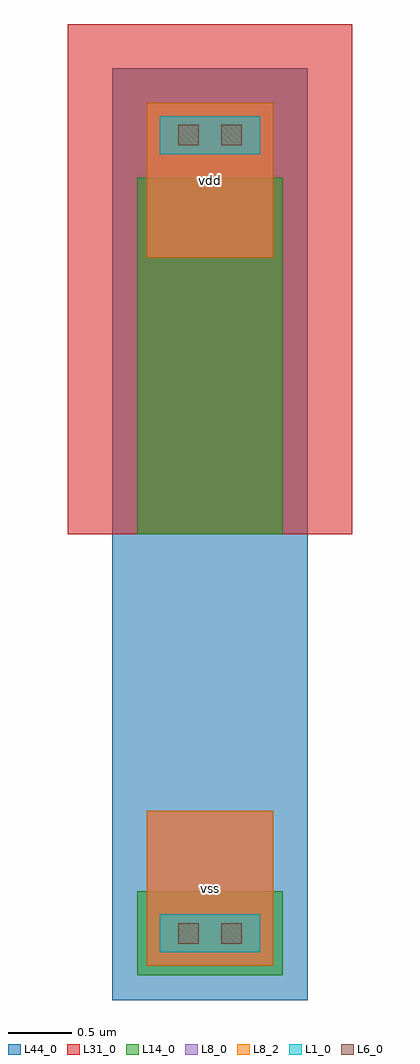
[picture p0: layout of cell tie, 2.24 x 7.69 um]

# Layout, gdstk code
import gdstk
lib = gdstk.Library(unit=1e-6, precision=1e-09)
def R(c, l, rs):  # rectangles x0, y0, x1, y1
    for r in rs: c.add(gdstk.rectangle(r[:2], r[2:], *l))
L1_0 = (1, 0)
L6_0 = (6, 0)
L8_0 = (8, 0)
L8_2 = (8, 2)
L14_0 = (14, 0)
L31_0 = (31, 0)
L44_0 = (44, 0)

tie = lib.new_cell('tie')
R(tie, L1_0, [(0.105,0.105,0.895,0.405), (0.105,6.395,0.895,6.695)])
R(tie, L6_0, [(0.25,0.175,0.41,0.335), (0.59,0.175,0.75,0.335), (0.25,6.465,0.41,6.625), (0.59,6.465,0.75,6.625)])
R(tie, L8_0, [(0,0,1,1.22), (0,5.58,1,6.8)])
R(tie, L8_2, [(0,0,1,1.22), (0,5.58,1,6.8)])
R(tie, L14_0, [(-0.075,-0.075,1.075,0.585), (-0.075,3.4,1.075,6.21)])
R(tie, L31_0, [(-0.62,3.4,1.62,7.42)])
R(tie, L44_0, [(-0.27,-0.27,1.27,7.07)])
tie.add(gdstk.Label('vdd', (0.5,6.19), layer=8, texttype=2))
tie.add(gdstk.Label('vss', (0.5,0.61), layer=8, texttype=2))

lib.write_gds('tie.gds')
